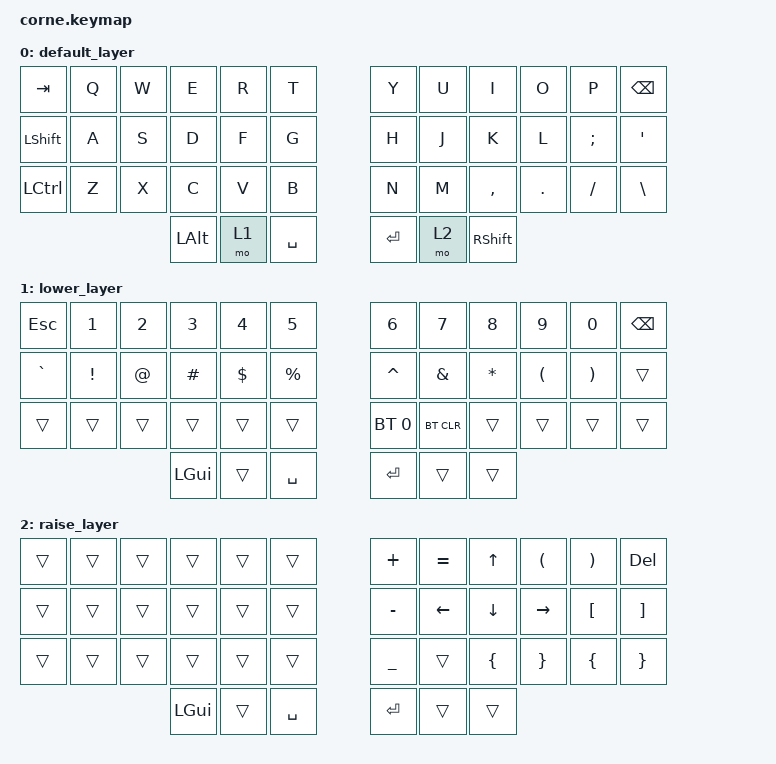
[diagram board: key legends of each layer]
/*
 * Copyright (c) 2020 The ZMK Contributors
 *
 * SPDX-License-Identifier: MIT
 */

#include <behaviors.dtsi>
#include <dt-bindings/zmk/bt.h>
#include <dt-bindings/zmk/keys.h>

/ {
    keymap {
        compatible = "zmk,keymap";

        default_layer {
            // -----------------------------------------------------------------------------------------
            // |  TAB |  Q  |  W  |  E  |  R  |  T  |   |  Y  |  U   |  I  |  O  |  P  | BKSP |
            // | CTRL |  A  |  S  |  D  |  F  |  G  |   |  H  |  J   |  K  |  L  |  ;  |  '   |
            // | SHFT |  Z  |  X  |  C  |  V  |  B  |   |  N  |  M   |  ,  |  .  |  /  | ESC  |
            //                    | GUI | LWR | SPC |   | ENT | RSE  | ALT |

            bindings = <
&kp TAB           &kp Q  &kp W  &kp E         &kp R  &kp T        &kp Y    &kp U  &kp I            &kp O    &kp P     &kp BSPC
&kp LEFT_SHIFT    &kp A  &kp S  &kp D         &kp F  &kp G        &kp H    &kp J  &kp K            &kp L    &kp SEMI  &kp SQT
&kp LEFT_CONTROL  &kp Z  &kp X  &kp C         &kp V  &kp B        &kp N    &kp M  &kp COMMA        &kp DOT  &kp FSLH  &kp BACKSLASH
                                &kp LEFT_ALT  &mo 1  &kp SPACE    &kp RET  &mo 2  &kp RIGHT_SHIFT
            >;
        };

        lower_layer {
            // -----------------------------------------------------------------------------------------
            // |  TAB |  1  |  2  |  3  |  4  |  5  |   |  6  |  7  |  8  |  9  |  0  | BKSP |
            // | BTCLR| BT1 | BT2 | BT3 | BT4 | BT5 |   | LFT | DWN |  UP | RGT |     |      |
            // | SHFT |     |     |     |     |     |   |     |     |     |     |     |      |
            //                    | GUI |     | SPC |   | ENT |     | ALT |

            bindings = <
&kp ESCAPE  &kp N1           &kp N2       &kp N3    &kp N4      &kp N5         &kp N6        &kp N7         &kp N8        &kp N9                &kp N0                 &kp BSPC
&kp GRAVE   &kp EXCLAMATION  &kp AT_SIGN  &kp HASH  &kp DOLLAR  &kp PERCENT    &kp CARET     &kp AMPERSAND  &kp ASTERISK  &kp LEFT_PARENTHESIS  &kp RIGHT_PARENTHESIS  &trans
&trans      &trans           &trans       &trans    &trans      &trans         &bt BT_SEL 0  &bt BT_CLR     &trans        &trans                &trans                 &trans
                                          &kp LGUI  &trans      &kp SPACE      &kp RET       &trans         &trans
            >;
        };

        raise_layer {
            // -----------------------------------------------------------------------------------------
            // |  TAB |  !  |  @  |  #  |  $  |  %  |   |  ^  |  &  |  *  |  (  |  )  | BKSP |
            // | CTRL |     |     |     |     |     |   |  -  |  =  |  [  |  ]  |  \  |  `   |
            // | SHFT |     |     |     |     |     |   |  _  |  +  |  {  |  }  | "|" |  ~   |
            //                    | GUI |     | SPC |   | ENT |     | ALT |

            bindings = <
&trans  &trans  &trans  &trans    &trans  &trans       &kp PLUS   &kp EQUAL       &kp UP_ARROW    &kp LPAR         &kp RPAR          &kp DELETE
&trans  &trans  &trans  &trans    &trans  &trans       &kp MINUS  &kp LEFT_ARROW  &kp DOWN_ARROW  &kp RIGHT_ARROW  &kp LEFT_BRACKET  &kp RIGHT_BRACKET
&trans  &trans  &trans  &trans    &trans  &trans       &kp UNDER  &trans          &kp LBRC        &kp RBRC         &kp LEFT_BRACE    &kp RIGHT_BRACE
                        &kp LGUI  &trans  &kp SPACE    &kp RET    &trans          &trans
            >;
        };
    };
};
